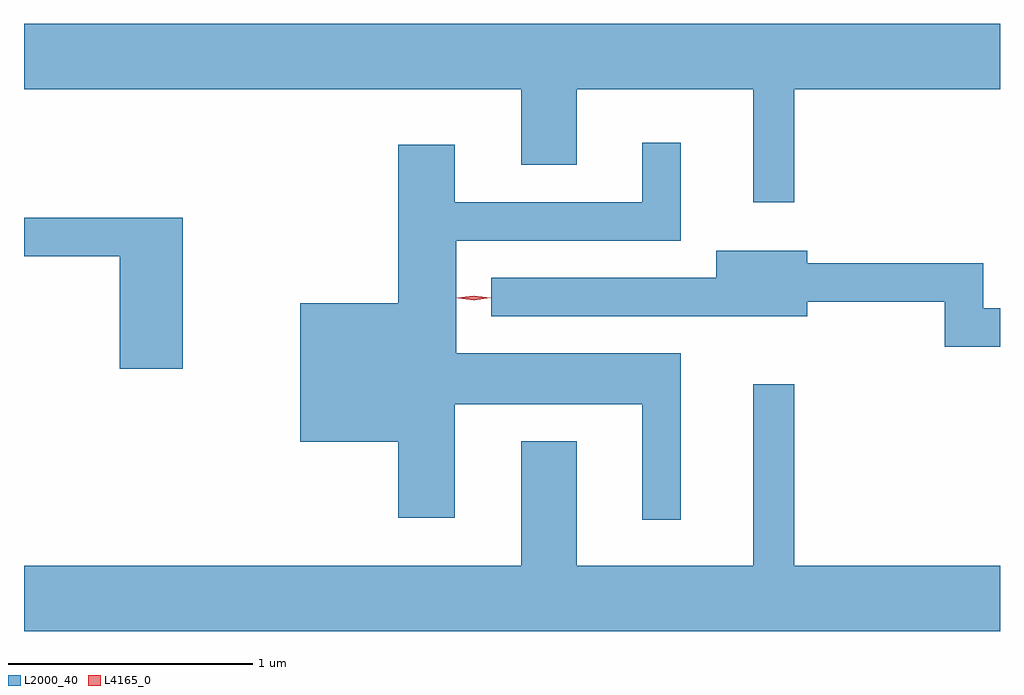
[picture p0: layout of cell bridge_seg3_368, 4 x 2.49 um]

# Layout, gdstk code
import gdstk
lib = gdstk.Library(unit=1e-6, precision=1e-09)
def P(c, l, *ps):  # polygons
    for p in ps: c.add(gdstk.Polygon(p, *l))
L2000_40 = (2000, 40)
L4165_0 = (4165, 0)

bridge_seg3_368 = lib.new_cell('bridge_seg3_368')
P(bridge_seg3_368, L2000_40, [(663.683,1188.176),(665.721,1188.176),(665.721,1187.866),(665.949,1187.866),(665.949,1188.176),(666.671,1188.176),(666.671,1187.713),(666.839,1187.713),(666.839,1188.176),(667.683,1188.176),(667.683,1188.444),(663.683,1188.444)],
  [(666.374,1187.094),(665.454,1187.094),(665.454,1187.556),(666.374,1187.556),(666.374,1187.958),(666.216,1187.958),(666.216,1187.714),(665.449,1187.714),(665.449,1187.949),(665.216,1187.949),(665.216,1187.299),(664.816,1187.299),(664.816,1186.731),(665.216,1186.731),(665.216,1186.421),(665.449,1186.421),(665.449,1186.886),(666.216,1186.886),(666.216,1186.413),(666.374,1186.413)],
  [(664.334,1187.649),(663.683,1187.649),(663.683,1187.491),(664.076,1187.491),(664.076,1187.031),(664.334,1187.031)],
  [(667.683,1187.279),(667.614,1187.279),(667.614,1187.464),(666.894,1187.464),(666.894,1187.514),(666.521,1187.514),(666.521,1187.404),(665.598,1187.404),(665.598,1187.246),(666.894,1187.246),(666.894,1187.306),(667.456,1187.306),(667.456,1187.121),(667.683,1187.121)],
  [(667.683,1186.224),(666.839,1186.224),(666.839,1186.968),(666.671,1186.968),(666.671,1186.224),(665.949,1186.224),(665.949,1186.734),(665.721,1186.734),(665.721,1186.224),(663.683,1186.224),(663.683,1185.956),(667.683,1185.956)])
P(bridge_seg3_368, L4165_0, [(665.526,1187.312),(665.457,1187.321),(665.457,1187.321),(665.457,1187.322),(665.526,1187.331),(665.596,1187.322),(665.596,1187.322),(665.596,1187.321)],
  [(665.528,1187.311),(665.463,1187.319),(665.462,1187.32),(665.463,1187.32),(665.527,1187.331),(665.592,1187.322),(665.593,1187.322),(665.592,1187.321)])

lib.write_gds('bridge_seg3_368.gds')
